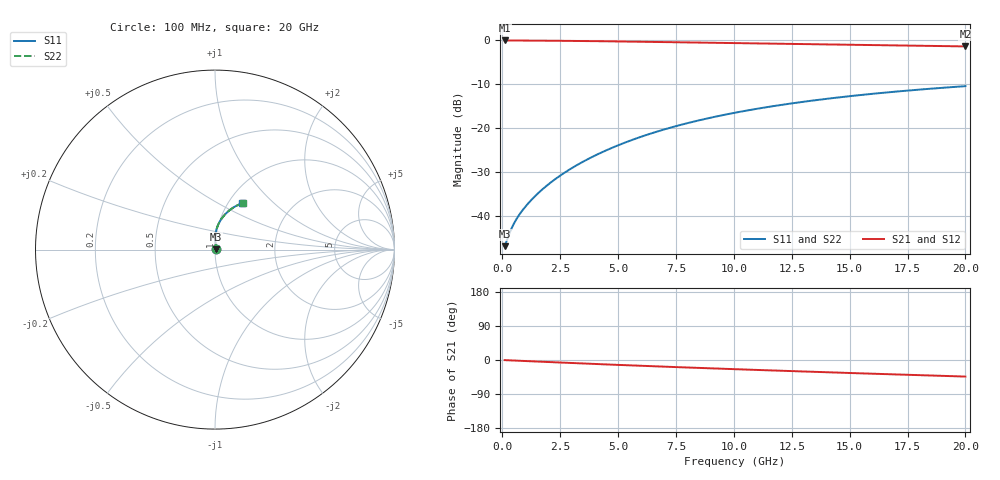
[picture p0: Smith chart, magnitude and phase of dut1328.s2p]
! Touchstone file exported from HFSS 2024.1.0
!  File:  C:/UserFiles/LocalFiles/RDL_TSV_Batchsim/temp_RDL_top_1328_1780365303.aedt
!  Generated:  09:57:28 AM Jun  2, 2026
!  Design:  RDL_top
!  Project:  temp_RDL_top_1328_1780365303
!  Setup:  Setup1
!  Solution:  Sweep
! Variables:
!  dtsv = 10.80580581um
!  hbump = 3um
!  htsv = 61.61um
!  ldown = 100um
!  lrdl = 682.61um
!  p = 40
!  p1 = 45.12um
!  rhole = 1um
!  t = 450um
!  tdown = 3.915915916um
!  trdl = 2.19um
!  wdown = 15.38538539um
!  wrdl = 28.19um
# GHz S MA R 50.000000
! Terminal data exported
! Port[1] = Box2_T1
! Port[2] = Box2_T2
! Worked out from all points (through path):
!   200 points, 100 MHz to 20 GHz, reference 50 ohm
!   highest |S21| = -0.04 dB at 100 MHz (marker M1); lowest = -1.4 dB at 20 GHz (marker M2)
!   group delay of S21, straight-line fit = 5.99 ps
!   lowest |S11| = -46.9 dB at 100 MHz (marker M3), VSWR 1.01, Z = 50.4 + j0.147 ohm
!   |S11| at or under -10 dB: start of sweep to end of sweep
!   |S22| runs from -46.9 to -10.4 dB; largest |S21 - S12| = 2.3e-14
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0.1  0.004532 18.7  0.9957 -0.3  0.9957 -0.3  0.004532 18.7
! Gamma 0 0 0 0
! Port Impedance 50 0 50 0
0.3  0.006245 41.1  0.9951 -0.9  0.9951 -0.9  0.006245 41.1
0.4  0.007223 46.9  0.9948 -1.1  0.9948 -1.1  0.007223 46.9
0.5  0.008181 51.2  0.9945 -1.4  0.9945 -1.4  0.00818 51.2
0.6  0.009113 54.7  0.9942 -1.7  0.9942 -1.7  0.009112 54.7
0.9  0.01186 62.7  0.9933 -2.5  0.9933 -2.5  0.01186 62.7
1.2  0.01469 68.6  0.9924 -3.3  0.9924 -3.3  0.01469 68.6
1.7  0.01976 75.7  0.9906 -4.6  0.9906 -4.6  0.01976 75.7
2.2  0.02528 80.4  0.9885 -5.9  0.9885 -5.9  0.02529 80.4
2.8  0.03249 84.2  0.9854 -7.5  0.9854 -7.5  0.0325 84.2
3.5  0.04166 86.8  0.9812 -9.2  0.9812 -9.2  0.04167 86.8
4.2  0.05159 88.3  0.9764 -11.0  0.9764 -11.0  0.0516 88.3
5  0.06374 88.9  0.9705 -12.9  0.9705 -12.9  0.06376 88.9
5.9  0.07823 88.6  0.9634 -15.1  0.9634 -15.1  0.07824 88.6
6.8  0.09334 87.7  0.956 -17.1  0.956 -17.1  0.09336 87.7
8.4  0.121 85.0  0.9427 -20.7  0.9427 -20.7  0.121 85.0
10.1  0.1507 81.4  0.9286 -24.4  0.9286 -24.4  0.1507 81.4
11.7  0.178 77.7  0.9155 -27.7  0.9155 -27.7  0.178 77.7
13.4  0.206 73.8  0.9019 -31.1  0.9019 -31.1  0.206 73.8
15  0.2311 70.2  0.8894 -34.3  0.8894 -34.3  0.2311 70.1
16.7  0.2563 66.4  0.8763 -37.6  0.8763 -37.6  0.2563 66.3
20  0.3006 59.4  0.8519 -43.7  0.8519 -43.7  0.3005 59.3
